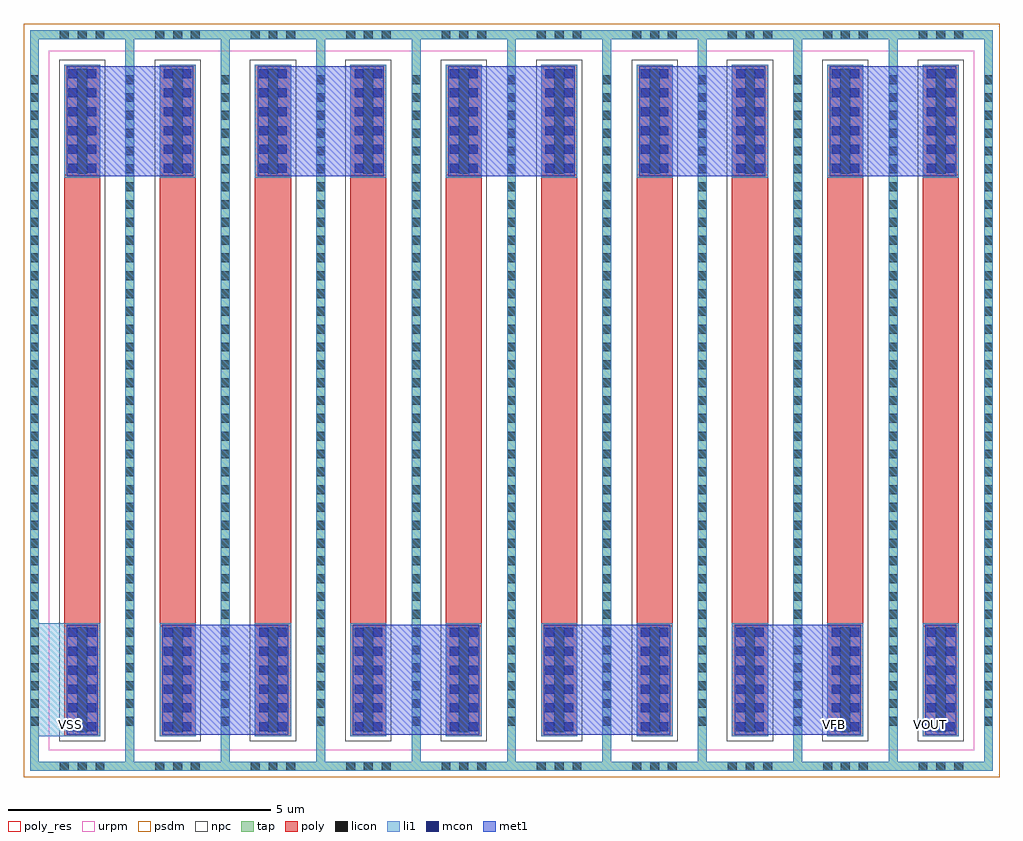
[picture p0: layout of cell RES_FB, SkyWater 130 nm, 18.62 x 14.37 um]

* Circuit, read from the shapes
.subckt RES_FB VFB VOUT VSS
XR1 n1 VSS VSS sky130_fd_pr__res_xhigh_po w=0.69 l=8.5
XR2 n1 n2 VSS sky130_fd_pr__res_xhigh_po w=0.69 l=8.5
XR3 n3 n2 VSS sky130_fd_pr__res_xhigh_po w=0.69 l=8.5
XR4 n3 n4 VSS sky130_fd_pr__res_xhigh_po w=0.69 l=8.5
XR5 n5 n4 VSS sky130_fd_pr__res_xhigh_po w=0.69 l=8.5
XR6 n5 n6 VSS sky130_fd_pr__res_xhigh_po w=0.69 l=8.5
XR7 n7 n6 VSS sky130_fd_pr__res_xhigh_po w=0.69 l=8.5
XR8 n7 VFB VSS sky130_fd_pr__res_xhigh_po w=0.69 l=8.5
XR9 n8 VFB VSS sky130_fd_pr__res_xhigh_po w=0.69 l=8.5
XR10 n8 VOUT VSS sky130_fd_pr__res_xhigh_po w=0.69 l=8.5
.ends

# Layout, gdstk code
import gdstk
lib = gdstk.Library(unit=1e-6, precision=1e-09)
def R(c, l, rs):  # rectangles x0, y0, x1, y1
    for r in rs: c.add(gdstk.rectangle(r[:2], r[2:], *l))
def A(c, l, x, y, w, h, nx, ny, dx, dy):  # array of equal rectangles
    R(c, l, [(x+i*dx, y+j*dy, x+i*dx+w, y+j*dy+h) for i in range(nx) for j in range(ny)])
tap = (65, 44)
poly_res = (66, 13)
poly = (66, 20)
licon = (66, 44)
li1 = (67, 20)
mcon = (67, 44)
met1 = (68, 20)
urpm = (79, 20)
psdm = (94, 20)
npc = (95, 20)

res_poly = lib.new_cell('res_poly')
R(res_poly, tap, [(-0.995,-7.06,0.995,-6.89), (-0.995,-6.89,-0.825,6.89), (0.825,-6.89,0.995,6.89), (-0.995,6.89,0.995,7.06)])
R(res_poly, poly_res, [(-0.345,-4.31,0.345,4.31)])
R(res_poly, poly, [(-0.345,-6.41,0.345,6.41)])
A(res_poly, licon, -0.425, -7.06, 0.17, 0.17, 3, 2, 0.34, 13.95)
A(res_poly, licon, -0.995, -6.205, 0.17, 0.17, 1, 37, 0, 0.34)
A(res_poly, licon, 0.825, -6.205, 0.17, 0.17, 1, 37, 0, 0.34)
R(res_poly, licon, [(-0.095,-6.33,0.095,-4.33), (-0.095,4.33,0.095,6.33)])
R(res_poly, li1, [(-0.995,-7.06,0.995,-6.89), (-0.995,-6.89,-0.825,6.89), (0.825,-6.89,0.995,6.89), (-0.345,-6.41,0.345,-4.25), (-0.345,4.25,0.345,6.41), (-0.995,6.89,0.995,7.06)])
A(res_poly, mcon, -0.265, -6.31, 0.17, 0.17, 1, 6, 0, 0.36)
A(res_poly, mcon, 0.095, -6.31, 0.17, 0.17, 1, 6, 0, 0.36)
A(res_poly, mcon, -0.265, 4.345, 0.17, 0.17, 1, 6, 0, 0.36)
A(res_poly, mcon, 0.095, 4.345, 0.17, 0.17, 1, 6, 0, 0.36)
R(res_poly, met1, [(-0.295,-6.38,0.295,-4.275), (-0.295,4.275,0.295,6.38)])
R(res_poly, urpm, [(-0.635,-6.61,0.635,6.61)])
R(res_poly, psdm, [(-1.12,-7.185,1.12,7.185)])
R(res_poly, npc, [(-0.44,-6.505,0.44,6.505)])

res_fb = lib.new_cell('RES_FB')
R(res_fb, li1, [(0.295,0.835,0.775,2.995)])
A(res_fb, met1, 3.235, 0.865, 1.23, 2.105, 4, 1, 3.64, 0)
A(res_fb, met1, 1.415, 11.52, 1.23, 2.105, 5, 1, 3.64, 0)
R(res_fb, urpm, [(0.485,0.575,18.135,13.915)])
res_fb.add(gdstk.Reference(res_poly, (2.94,7.245)))
res_fb.add(gdstk.Reference(res_poly, (6.58,7.245)))
res_fb.add(gdstk.Reference(res_poly, (8.4,7.245)))
res_fb.add(gdstk.Reference(res_poly, (12.04,7.245)))
res_fb.add(gdstk.Reference(res_poly, (15.68,7.245)))
res_fb.add(gdstk.Reference(res_poly, (13.86,7.245)))
res_fb.add(gdstk.Reference(res_poly, (17.5,7.245)))
res_fb.add(gdstk.Reference(res_poly, (10.22,7.245)))
res_fb.add(gdstk.Reference(res_poly, (4.76,7.245)))
res_fb.add(gdstk.Reference(res_poly, (1.12,7.245)))
res_fb.add(gdstk.Label('VSS', (0.903,1.056), layer=68, texttype=5))
res_fb.add(gdstk.Label('VOUT', (17.3,1.056), layer=68, texttype=5))
res_fb.add(gdstk.Label('VFB', (15.47,1.056), layer=68, texttype=5))

lib.write_gds('RES_FB.gds')
